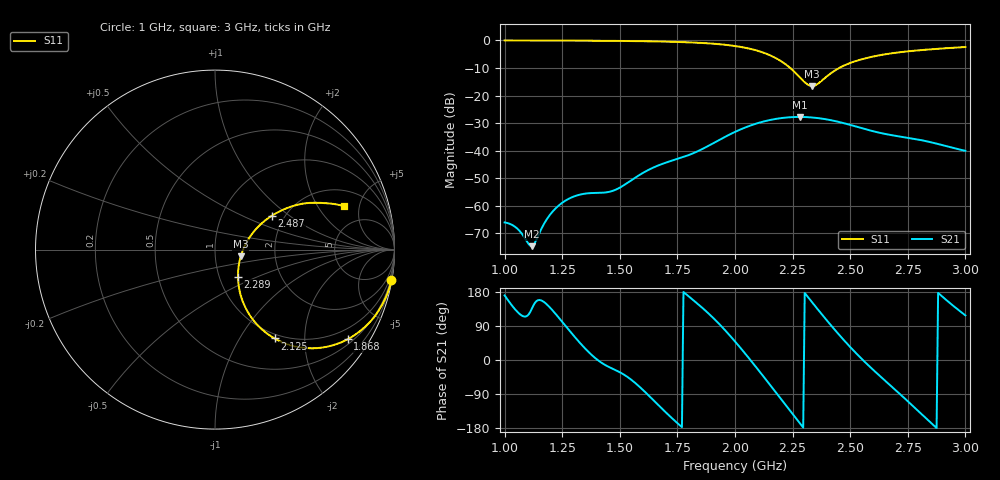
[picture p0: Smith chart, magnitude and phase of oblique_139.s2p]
! TOUCHSTONE file generated by CST MICROWAVE STUDIO
! Date and time: Tue Mar 18 00:02:17 2025
! Project name: oblique.cst
! Parameters = {Tilt=40; Fracture=1; B=10; D=160; F=15; Feed=2.85625; L=100; M=30; R=0.384908; S=2; Theta=90; length=57.125; wave=114.25}
! Header version: 2024
! Port assignment regex: !\s*Touchstone port\s*([0-9]+)\s*=\s*(CST MWS port|CST DES external port|CST DES block port)\s*(.+)\s* \(\"(.*)\"\)(\s*mode\s*([0-9]+))?.*
! Touchstone port assignment:
! Touchstone port 1 = CST MWS port 1 ("")
! Touchstone port 2 = CST MWS port 2 ("")
# GHz S DB R 50
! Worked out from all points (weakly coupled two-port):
!   305 points, 1 GHz to 3 GHz, reference 50 ohm
!   highest |S21| = -27.76 dB at 2.283 GHz (marker M1); lowest = -74.6 dB at 1.118 GHz (marker M2)
!   lowest |S11| = -16.6 dB at 2.336 GHz (marker M3), VSWR 1.35, Z = 66.5 - j5.17 ohm
!   |S11| at or under -10 dB: 2.24 GHz to 2.453 GHz (212.8 MHz wide, 9.07 % of centre)
!   S12 and S22 are empty: the file has one direction only
!   S11 on the Smith chart (normalised r, x): 1 GHz: 0, -12; 1.868 GHz: 0.64, -3.15; 2.125 GHz: 0.93, -1.43; 2.289 GHz: 1.23, -0.39; 2.487 GHz: 1.72, +0.76; 3 GHz: 3.08, +3.51
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1  -0.02 -9.8  -66.01 170.4  -200.00 0.0  -200.00 0.0
1.05263  -0.03 -10.5  -68.07 128.8  -200.00 0.0  -200.00 0.0
1.10526  -0.03 -11.3  -73.93 121.0  -200.00 0.0  -200.00 0.0
1.11842  -0.03 -11.5  -74.62 135.7  -200.00 0.0  -200.00 0.0
1.13158  -0.04 -11.7  -73.34 150.9  -200.00 0.0  -200.00 0.0
1.17763  -0.05 -12.4  -65.58 149.8  -200.00 0.0  -200.00 0.0
1.21711  -0.06 -13.1  -61.27 124.7  -200.00 0.0  -200.00 0.0
1.26974  -0.07 -14.0  -57.82 86.1  -200.00 0.0  -200.00 0.0
1.33553  -0.10 -15.2  -55.76 39.4  -200.00 0.0  -200.00 0.0
1.47368  -0.17 -18.3  -54.43 -24.5  -200.00 0.0  -200.00 0.0
1.67105  -0.39 -24.4  -45.21 -121.2  -200.00 0.0  -200.00 0.0
1.86842  -0.99 -34.0  -38.95 132.0  -200.00 0.0  -200.00 0.0
2  -2.04 -43.9  -33.18 49.0  -200.00 0.0  -200.00 0.0
2.125  -4.49 -56.2  -29.39 -44.6  -200.00 0.0  -200.00 0.0
2.21053  -8.12 -62.3  -28.08 -111.4  -200.00 0.0  -200.00 0.0
2.28289  -13.49 -52.5  -27.76 -168.0  -200.00 0.0  -200.00 0.0
2.28947  -14.07 -49.7  -27.76 -173.1  -200.00 0.0  -200.00 0.0
2.33553  -16.57 -14.8  -27.96 151.6  -200.00 0.0  -200.00 0.0
2.40789  -12.44 25.0  -28.80 97.7  -200.00 0.0  -200.00 0.0
2.48684  -8.63 30.8  -30.34 42.9  -200.00 0.0  -200.00 0.0
2.67105  -4.78 26.7  -34.23 -65.2  -200.00 0.0  -200.00 0.0
3  -2.41 18.6  -40.02 117.8  -200.00 0.0  -200.00 0.0
